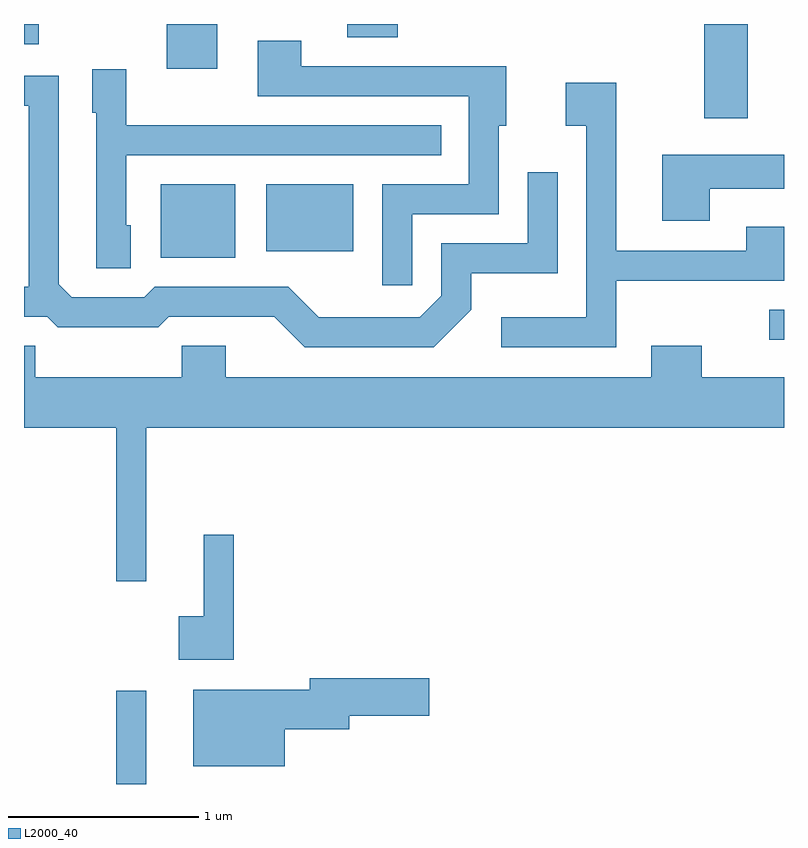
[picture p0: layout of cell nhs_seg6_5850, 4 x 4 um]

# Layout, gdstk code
import gdstk
lib = gdstk.Library(unit=1e-6, precision=1e-09)
def R(c, l, rs):  # rectangles x0, y0, x1, y1
    for r in rs: c.add(gdstk.rectangle(r[:2], r[2:], *l))
def P(c, l, *ps):  # polygons
    for p in ps: c.add(gdstk.Polygon(p, *l))
L2000_40 = (2000, 40)

nhs_seg6_5850 = lib.new_cell('nhs_seg6_5850')
R(nhs_seg6_5850, L2000_40, [(364.096,1548.162,364.254,1548.653), (367.533,1550.501,367.611,1550.659), (364.331,1550.931,364.724,1551.319), (364.886,1550.966,365.344,1551.319), (367.191,1551.666,367.419,1552.162), (364.361,1551.926,364.629,1552.162), (363.611,1552.056,363.689,1552.162), (365.311,1552.091,365.579,1552.162)])
P(nhs_seg6_5850, L2000_40, [(365.654,1551.161),(366.109,1551.161),(366.109,1551.626),(366.149,1551.626),(366.149,1551.939),(365.069,1551.939),(365.069,1552.074),(364.841,1552.074),(364.841,1551.781),(365.951,1551.781),(365.951,1551.319),(365.496,1551.319),(365.496,1550.788),(365.654,1550.788)],
  [(364.174,1551.104),(364.149,1551.104),(364.149,1551.471),(365.808,1551.471),(365.808,1551.629),(364.149,1551.629),(364.149,1551.924),(363.971,1551.924),(363.971,1551.696),(363.991,1551.696),(363.991,1550.876),(364.174,1550.876)],
  [(365.964,1550.659),(365.964,1550.851),(366.419,1550.851),(366.419,1551.383),(366.261,1551.383),(366.261,1551.009),(365.806,1551.009),(365.806,1550.732),(365.694,1550.619),(365.162,1550.619),(365.002,1550.779),(364.299,1550.779),(364.244,1550.724),(363.862,1550.724),(363.794,1550.792),(363.794,1551.889),(363.611,1551.889),(363.611,1551.731),(363.636,1551.731),(363.636,1550.779),(363.611,1550.779),(363.611,1550.621),(363.734,1550.621),(363.789,1550.566),(364.317,1550.566),(364.372,1550.621),(364.929,1550.621),(365.089,1550.461),(365.767,1550.461)],
  [(366.729,1550.811),(367.611,1550.811),(367.611,1551.094),(367.411,1551.094),(367.411,1550.969),(366.729,1550.969),(366.729,1551.854),(366.461,1551.854),(366.461,1551.626),(366.571,1551.626),(366.571,1550.619),(366.123,1550.619),(366.123,1550.461),(366.729,1550.461)],
  [(367.219,1551.296),(367.611,1551.296),(367.611,1551.474),(366.971,1551.474),(366.971,1551.126),(367.219,1551.126)],
  [(364.254,1550.036),(367.611,1550.036),(367.611,1550.304),(367.179,1550.304),(367.179,1550.469),(366.911,1550.469),(366.911,1550.304),(364.674,1550.304),(364.674,1550.469),(364.441,1550.469),(364.441,1550.304),(363.669,1550.304),(363.669,1550.469),(363.611,1550.469),(363.611,1550.036),(364.096,1550.036),(364.096,1549.228),(364.254,1549.228)],
  [(364.714,1549.473),(364.556,1549.473),(364.556,1549.044),(364.426,1549.044),(364.426,1548.816),(364.714,1548.816)],
  [(364.984,1548.451),(365.324,1548.451),(365.324,1548.521),(365.744,1548.521),(365.744,1548.719),(365.116,1548.719),(365.116,1548.659),(364.501,1548.659),(364.501,1548.256),(364.984,1548.256)])

lib.write_gds('nhs_seg6_5850.gds')
